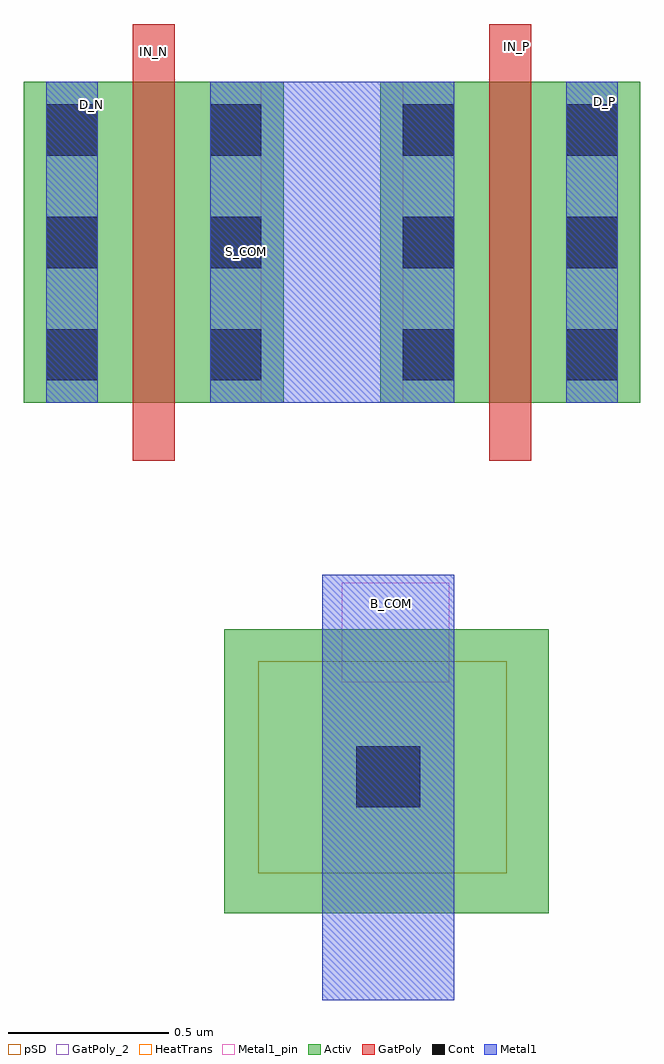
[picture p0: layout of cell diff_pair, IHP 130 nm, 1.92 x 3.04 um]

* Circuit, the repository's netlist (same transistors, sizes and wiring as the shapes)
* Extracted by KLayout with SG13G2 LVS runset on : 19/11/2026 13:24

.SUBCKT diff_pair
M$1 \$2 \$5 \$3 \$1 sg13_lv_nmos L=0.13u W=1u AS=0.34p AD=0.34p PS=2.68u
+ PD=2.68u rfmode=0
M$2 \$3 \$6 \$4 \$1 sg13_lv_nmos L=0.13u W=1u AS=0.34p AD=0.34p PS=2.68u
+ PD=2.68u rfmode=0
.ENDS diff_pair

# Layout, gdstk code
import gdstk
lib = gdstk.Library(unit=1e-6, precision=1e-09)
def R(c, l, rs):  # rectangles x0, y0, x1, y1
    for r in rs: c.add(gdstk.rectangle(r[:2], r[2:], *l))
def A(c, l, x, y, w, h, nx, ny, dx, dy):  # array of equal rectangles
    R(c, l, [(x+i*dx, y+j*dy, x+i*dx+w, y+j*dy+h) for i in range(nx) for j in range(ny)])
Activ = (1, 0)
GatPoly = (5, 0)
GatPoly_2 = (5, 2)
Cont = (6, 0)
Metal1 = (8, 0)
Metal1_pin = (8, 2)
pSD = (14, 0)
HeatTrans = (51, 0)

nmos = lib.new_cell('nmos')
R(nmos, Activ, [(0,0,0.3,0.3), (0,0,0.81,1), (0.51,0,0.81,0.3)])
R(nmos, GatPoly, [(0.34,-0.18,0.47,1.18)])
R(nmos, GatPoly_2, [(0.34,-0.18,0.47,1.18)])
A(nmos, Cont, 0.07, 0.07, 0.16, 0.16, 1, 3, 0, 0.35)
A(nmos, Cont, 0.58, 0.07, 0.16, 0.16, 1, 3, 0, 0.35)
R(nmos, Metal1, [(0.07,0,0.23,1), (0.58,0,0.74,1)])
R(nmos, Metal1_pin, [(0.07,0,0.23,1), (0.58,0,0.74,1)])
R(nmos, HeatTrans, [(0.34,-0.18,0.47,1.18)])
nmos.add(gdstk.Label('nmos', (0.405,0.5), layer=63, texttype=0))
nmos.add(gdstk.Label('nmos', (0.405,0.5), layer=51, texttype=0))

diff_pair = lib.new_cell('diff_pair')
R(diff_pair, Activ, [(-0.015,-1.585,0.995,-0.7)])
R(diff_pair, Cont, [(0.395,-1.255,0.595,-1.065)])
R(diff_pair, Metal1, [(0.29,-1.855,0.7,-0.53), (0.1,0.005,0.54,1.005)])
R(diff_pair, Metal1_pin, [(0.35,-0.865,0.685,-0.555)])
R(diff_pair, pSD, [(0.09,-1.46,0.865,-0.8)])
diff_pair.add(gdstk.Reference(nmos, (-0.64,0.005)))
diff_pair.add(gdstk.Reference(nmos, (0.47,0.005)))
diff_pair.add(gdstk.Label('B_COM', (0.505,-0.62), layer=8, texttype=2))
diff_pair.add(gdstk.Label('S_COM', (0.055,0.475), layer=8, texttype=2))
diff_pair.add(gdstk.Label('D_N', (-0.43,0.935), layer=8, texttype=2))
diff_pair.add(gdstk.Label('D_P', (1.17,0.945), layer=8, texttype=2))
diff_pair.add(gdstk.Label('IN_N', (-0.235,1.1), layer=5, texttype=2))
diff_pair.add(gdstk.Label('IN_P', (0.895,1.115), layer=5, texttype=2))

lib.write_gds('diff_pair.gds')
